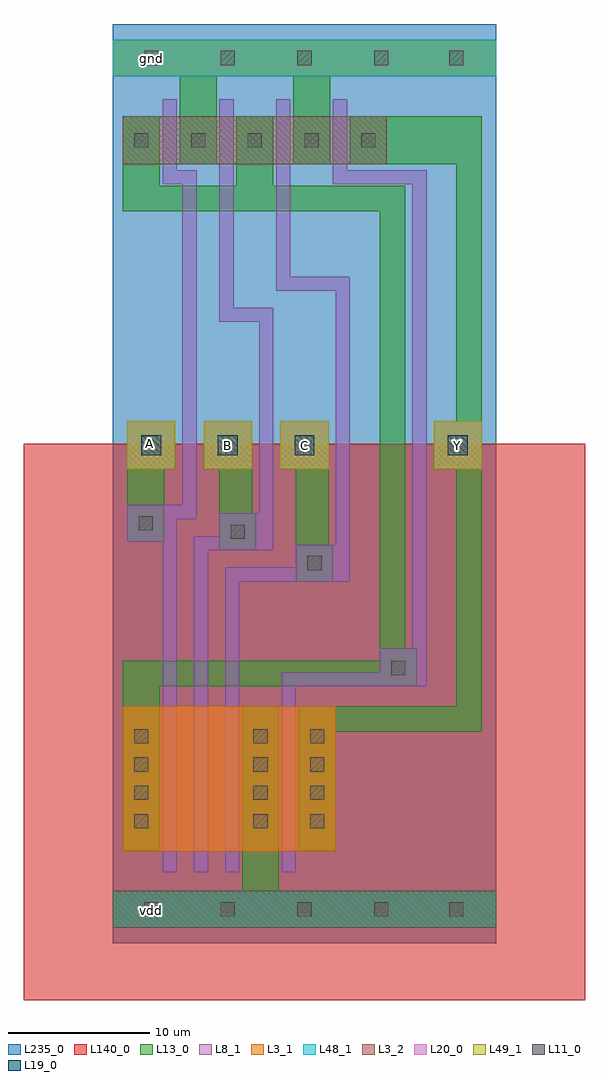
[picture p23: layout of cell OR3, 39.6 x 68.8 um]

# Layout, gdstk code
import gdstk
lib = gdstk.Library(unit=1e-6, precision=1e-09)
def R(c, l, rs):  # rectangles x0, y0, x1, y1
    for r in rs: c.add(gdstk.rectangle(r[:2], r[2:], *l))
def A(c, l, x, y, w, h, nx, ny, dx, dy):  # array of equal rectangles
    R(c, l, [(x+i*dx, y+j*dy, x+i*dx+w, y+j*dy+h) for i in range(nx) for j in range(ny)])
def P(c, l, *ps):  # polygons
    for p in ps: c.add(gdstk.Polygon(p, *l))
L3_1 = (3, 1)
L3_2 = (3, 2)
L8_1 = (8, 1)
L11_0 = (11, 0)
L13_0 = (13, 0)
L19_0 = (19, 0)
L20_0 = (20, 0)
L48_1 = (48, 1)
L49_1 = (49, 1)
L140_0 = (140, 0)
L235_0 = (235, 0)

or3 = lib.new_cell('OR3')
R(or3, L3_1, [(0.7,-58.3,15.7,-48.1), (0,-3.7,27,-1.1)])
R(or3, L3_2, [(0,-63.7,27,-61.1), (0.7,-9.9,19.3,-6.5)])
P(or3, L8_1, [(3.5,-59.8),(3.5,-36.5),(1,-36.5),(1,-33.9),(4.9,-33.9),(4.9,-11.3),(3.5,-11.3),(3.5,-5.3),(4.5,-5.3),(4.5,-10.3),(5.9,-10.3),(5.9,-34.9),(4.5,-34.9),(4.5,-59.8)],
  [(5.7,-59.8),(5.7,-36.1),(7.5,-36.1),(7.5,-34.5),(10.3,-34.5),(10.3,-21),(7.5,-21),(7.5,-5.3),(8.5,-5.3),(8.5,-20),(11.3,-20),(11.3,-37.1),(6.7,-37.1),(6.7,-59.8)],
  [(7.9,-59.8),(7.9,-38.3),(12.9,-38.3),(12.9,-36.7),(15.7,-36.7),(15.7,-18.8),(11.5,-18.8),(11.5,-5.3),(12.5,-5.3),(12.5,-17.8),(16.7,-17.8),(16.7,-39.3),(8.9,-39.3),(8.9,-59.8)],
  [(11.9,-59.8),(11.9,-45.7),(18.8,-45.7),(18.8,-44),(21.1,-44),(21.1,-11.3),(15.5,-11.3),(15.5,-5.3),(16.5,-5.3),(16.5,-10.3),(22.1,-10.3),(22.1,-46.7),(12.9,-46.7),(12.9,-59.8)])
A(or3, L11_0, 7.6, -62.9, 1, 1, 3, 2, 5.4, 60)
A(or3, L11_0, 1.5, -56.7, 1, 1, 1, 4, 0, 2)
A(or3, L11_0, 9.9, -56.7, 1, 1, 1, 4, 0, 2)
A(or3, L11_0, 13.9, -56.7, 1, 1, 1, 4, 0, 2)
A(or3, L11_0, 1.5, -8.7, 1, 1, 5, 1, 4, 0)
R(or3, L11_0, [(2.2,-62.9,3.2,-61.9), (2.2,-62.9,3.2,-61.9), (7.6,-62.9,8.6,-61.9), (7.6,-62.9,8.6,-61.9), (7.6,-62.9,8.6,-61.9), (23.7,-62.9,24.7,-61.9), (19.6,-45.9,20.6,-44.9), (13.7,-38.5,14.7,-37.5), (8.3,-36.3,9.3,-35.3), (1.8,-35.7,2.8,-34.7), (2.2,-2.9,3.2,-1.9), (7.6,-2.9,8.6,-1.9), (23.7,-2.9,24.7,-1.9)])
R(or3, L13_0, [(0,-63.7,27,-61.1), (9.1,-61.1,11.7,-48.1), (1,-36.5,3.6,-31.4), (1,-31.4,4.4,-28), (1,-31.4,4.4,-28), (6.4,-31.4,9.8,-28), (6.4,-31.4,9.8,-28), (11.8,-31.4,15.2,-28), (11.8,-31.4,15.2,-28), (22.6,-31.4,26,-28), (4.7,-9.9,7.3,-3.7), (12.7,-9.9,15.3,-3.7), (0,-3.7,27,-1.1)])
P(or3, L13_0, [(7.5,-37.1),(7.5,-31.4),(9.8,-31.4),(9.8,-34.5),(10.1,-34.5),(10.1,-37.1)],
  [(12.9,-39.3),(12.9,-31.4),(15.2,-31.4),(15.2,-36.7),(15.5,-36.7),(15.5,-39.3)],
  [(8.7,-13.2),(8.7,-6.5),(11.3,-6.5),(11.3,-11.4),(20.6,-11.4),(20.6,-13.2)],
  [(0.7,-58.3),(0.7,-44.9),(18.8,-44.9),(18.8,-13.2),(0.7,-13.2),(0.7,-6.5),(3.3,-6.5),(3.3,-11.4),(20.6,-11.4),(20.6,-44),(21.4,-44),(21.4,-46.7),(3.3,-46.7),(3.3,-58.3)],
  [(13.1,-58.3),(13.1,-48.1),(24.2,-48.1),(24.2,-31.4),(22.6,-31.4),(22.6,-28),(24.2,-28),(24.2,-9.9),(16.7,-9.9),(16.7,-6.5),(26,-6.5),(26,-49.9),(15.7,-49.9),(15.7,-58.3)])
A(or3, L19_0, 2, -30.4, 1.4, 1.4, 3, 1, 5.4, 0)
R(or3, L19_0, [(23.6,-30.4,25,-29)])
A(or3, L20_0, 1, -31.4, 3.4, 3.4, 3, 1, 5.4, 0)
R(or3, L20_0, [(22.6,-31.4,26,-28)])
R(or3, L48_1, [(0,-63.7,27,-61.1), (0,-3.7,27,-1.1)])
A(or3, L49_1, 1, -31.4, 3.4, 3.4, 3, 1, 5.4, 0)
R(or3, L49_1, [(22.6,-31.4,26,-28)])
R(or3, L140_0, [(-6.3,-68.8,33.3,-29.6)])
R(or3, L235_0, [(0,-64.8,27,0)])
or3.add(gdstk.Label('gnd', (2.7,-2.4), layer=48, texttype=0))
or3.add(gdstk.Label('vdd', (2.7,-62.5), layer=48, texttype=0))
or3.add(gdstk.Label('Y', (24.3,-29.7), layer=49, texttype=0))
or3.add(gdstk.Label('C', (13.5,-29.7), layer=49, texttype=0))
or3.add(gdstk.Label('A', (2.6,-29.6), layer=49, texttype=0))
or3.add(gdstk.Label('B', (8.1,-29.7), layer=49, texttype=0))

lib.write_gds('OR3.gds')
